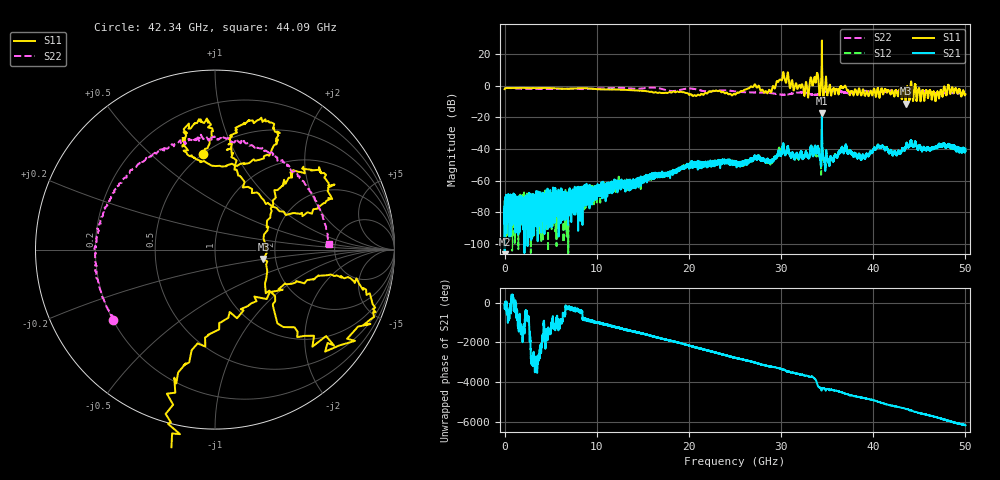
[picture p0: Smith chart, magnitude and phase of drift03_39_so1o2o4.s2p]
!Created with skrf (http://scikit-rf.org).
# Hz S RI R 50.0
!freq ReS11 ImS11 ReS21 ImS21 ReS12 ImS12 ReS22 ImS22
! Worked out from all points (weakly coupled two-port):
!   10000 points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, 5.3 MHz to 50 GHz, reference 50 ohm
!   highest |S21| = -17.18 dB at 34.43 GHz (marker M1); lowest = -124.2 dB at 15.3 MHz (marker M2)
!   lowest |S11| = -11.2 dB at 43.53 GHz (marker M3), VSWR 1.76, Z = 86.3 - j9.8 ohm
!   |S11| at or under -10 dB: 43.4893 GHz to 43.49138 GHz (2.079 MHz wide, 0.00478 % of centre); 43.49813 GHz to 43.5456 GHz (47.46 MHz wide, 0.109 % of centre)
!   |S22| runs from -5.8 to -1.1 dB; largest |S21 - S12| = 0.033
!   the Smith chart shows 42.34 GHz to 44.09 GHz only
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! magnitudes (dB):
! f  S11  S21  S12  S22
! 5.3 MHz  -2.1  -87.0  -80.2  -1.3
! 15.3 MHz  -2.0  -124.2  -77.2  -1.3
! 8.34 GHz  -1.5  -72.8  -67.2  -2.1
! 16.67 GHz  -4.4  -57.5  -55.9  -1.5
! 20.28 GHz  -5.5  -49.1  -49.4  -1.8
! 25.01 GHz  -5.5  -48.7  -48.1  -3.5
! 27.02 GHz  -0.3  -46.0  -45.6  -4.2
! 28.72 GHz  -2.5  -47.5  -47.8  -4.5
! 30.14 GHz  4.4  -39.9  -40.6  -5.6
! 32.74 GHz  2.0  -41.9  -41.9  -4.6
! 33.34 GHz  2.6  -39.7  -40.4  -5.4
! 33.82 GHz  4.0  -41.5  -42.0  -5.7
! 34.43 GHz  28.6  -17.2  -19.0  -4.6
! 35.27 GHz  -0.1  -50.5  -48.2  -3.4
! 36.85 GHz  -0.6  -41.6  -40.8  -4.4
! 38.88 GHz  -2.3  -43.9  -43.6  -3.2
! 40.6 GHz  -4.2  -38.2  -38.0  -4.0
! 41.67 GHz  -3.0  -41.8  -42.4  -3.3
! 43.53 GHz  -11.2  -38.7  -39.2  -4.3
! 46.94 GHz  -3.9  -38.3  -38.4  -4.8
! 48.32 GHz  -4.5  -37.2  -38.7  -4.5
! 50 GHz  -5.3  -39.7  -40.4  -4.5
